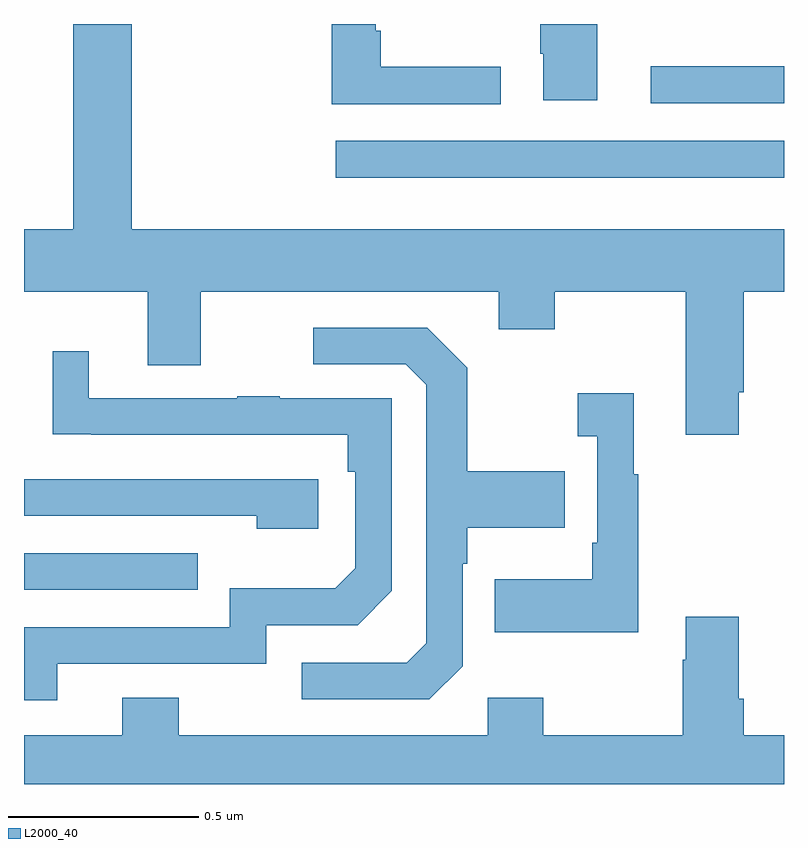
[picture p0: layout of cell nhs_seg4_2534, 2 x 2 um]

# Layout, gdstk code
import gdstk
lib = gdstk.Library(unit=1e-6, precision=1e-09)
def R(c, l, rs):  # rectangles x0, y0, x1, y1
    for r in rs: c.add(gdstk.rectangle(r[:2], r[2:], *l))
def P(c, l, *ps):  # polygons
    for p in ps: c.add(gdstk.Polygon(p, *l))
L2000_40 = (2000, 40)

nhs_seg4_2534 = lib.new_cell('nhs_seg4_2534')
R(nhs_seg4_2534, L2000_40, [(142,753.411,142.457,753.507), (142.821,754.496,144,754.593), (143.649,754.692,144,754.789)])
P(nhs_seg4_2534, L2000_40, [(143.254,754.787),(142.939,754.787),(142.939,754.882),(142.926,754.882),(142.926,754.9),(142.81,754.9),(142.81,754.689),(143.254,754.689)],
  [(143.509,754.9),(143.359,754.9),(143.359,754.822),(143.366,754.822),(143.366,754.7),(143.509,754.7)],
  [(142.283,754.9),(142.13,754.9),(142.13,754.36),(142,754.36),(142,754.196),(142.325,754.196),(142.325,754.002),(142.465,754.002),(142.465,754.196),(143.249,754.196),(143.249,754.097),(143.397,754.097),(143.397,754.196),(143.741,754.196),(143.741,753.819),(143.881,753.819),(143.881,753.931),(143.894,753.931),(143.894,754.196),(144,754.196),(144,754.36),(142.283,754.36)],
  [(143.154,753.21),(143.154,753.479),(143.167,753.479),(143.167,753.575),(143.423,753.575),(143.423,753.723),(143.167,753.723),(143.167,753.995),(143.061,754.101),(142.761,754.101),(142.761,754.005),(143.004,754.005),(143.058,753.951),(143.058,753.27),(143.007,753.219),(142.731,753.219),(142.731,753.123),(143.067,753.123)],
  [(142.087,753.216),(142.638,753.216),(142.638,753.318),(142.878,753.318),(142.968,753.408),(142.968,753.915),(142.673,753.915),(142.673,753.92),(142.561,753.92),(142.561,753.915),(142.171,753.915),(142.171,754.039),(142.075,754.039),(142.075,753.82),(142.177,753.82),(142.177,753.819),(142.852,753.819),(142.852,753.722),(142.872,753.722),(142.872,753.468),(142.819,753.415),(142.542,753.415),(142.542,753.312),(142,753.312),(142,753.12),(142.087,753.12)],
  [(143.617,753.715),(143.605,753.715),(143.605,753.928),(143.457,753.928),(143.457,753.815),(143.508,753.815),(143.508,753.535),(143.496,753.535),(143.496,753.439),(143.239,753.439),(143.239,753.299),(143.617,753.299)],
  [(142.774,753.702),(142,753.702),(142,753.606),(142.613,753.606),(142.613,753.572),(142.774,753.572)],
  [(144,753.028),(143.894,753.028),(143.894,753.124),(143.881,753.124),(143.881,753.34),(143.741,753.34),(143.741,753.227),(143.734,753.227),(143.734,753.028),(143.367,753.028),(143.367,753.127),(143.22,753.127),(143.22,753.028),(142.407,753.028),(142.407,753.127),(142.259,753.127),(142.259,753.028),(142,753.028),(142,752.9),(144,752.9)])

lib.write_gds('nhs_seg4_2534.gds')
